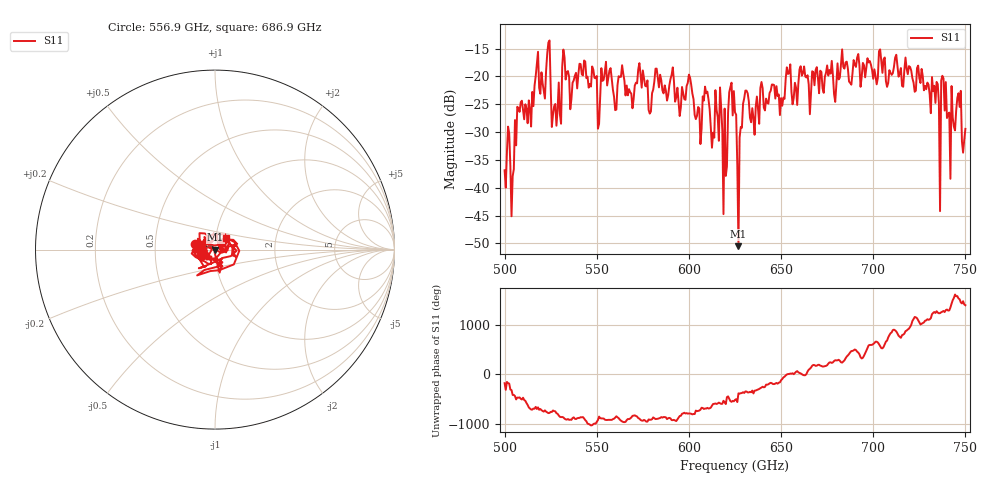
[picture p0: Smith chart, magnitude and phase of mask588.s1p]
!Created with skrf (http://scikit-rf.org).
# GHz S MA R 50.0
!freq magS11 angS11
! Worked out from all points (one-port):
!   401 points, 500 GHz to 750 GHz, reference 50 ohm
!   lowest |S11| = -50.5 dB at 626.9 GHz (marker M1), VSWR 1.01, Z = 50.3 - j0.116 ohm
!   |S11| at or under -10 dB: start of sweep to end of sweep
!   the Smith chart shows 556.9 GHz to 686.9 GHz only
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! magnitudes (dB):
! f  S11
! 500 GHz  -36.9
! 504.4 GHz  -37.9
! 508.1 GHz  -26.4
! 517.5 GHz  -17.7
! 523.8 GHz  -13.9
! 526.9 GHz  -25.4
! 531.2 GHz  -18.3
! 562.5 GHz  -20.1
! 593.8 GHz  -22.0
! 600 GHz  -19.7
! 605.6 GHz  -25.7
! 609.4 GHz  -23.0
! 612.5 GHz  -32.8
! 616.2 GHz  -31.6
! 619.4 GHz  -25.8
! 622.5 GHz  -21.9
! 625 GHz  -26.4
! 626.9 GHz  -50.5
! 630.6 GHz  -22.5
! 634.4 GHz  -25.7
! 656.2 GHz  -25.0
! 687.5 GHz  -21.2
! 718.8 GHz  -19.6
! 735 GHz  -21.4
! 738.1 GHz  -20.4
! 743.1 GHz  -27.4
! 746.2 GHz  -23.0
! 750 GHz  -29.4
